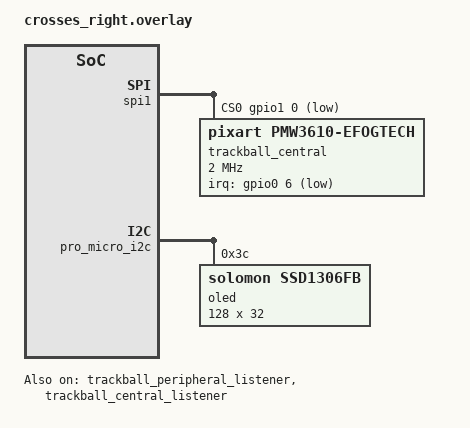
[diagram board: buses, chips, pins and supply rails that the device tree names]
/*
 * Copyright (c) 2025 Vincent Franco
 * SPDX-License-Identifier: MIT
 */

#include "crosses.dtsi"
#include <zephyr/dt-bindings/input/input-event-codes.h>

&default_transform {
  col-offset = <6>;
};

&forty_two_transform {
  col-offset = <6>;
};

&thirty_six_transform {
  col-offset = <6>;
};

&kscan0 {
  col-gpios
    = <&gpio1 11 (GPIO_ACTIVE_HIGH | GPIO_PULL_DOWN)>
    , <&gpio0 10  (GPIO_ACTIVE_HIGH | GPIO_PULL_DOWN)>
    , <&gpio0 9 (GPIO_ACTIVE_HIGH | GPIO_PULL_DOWN)>
    , <&gpio1 13 (GPIO_ACTIVE_HIGH | GPIO_PULL_DOWN)>
    , <&gpio1 15 (GPIO_ACTIVE_HIGH | GPIO_PULL_DOWN)>
    , <&gpio0 8 (GPIO_ACTIVE_HIGH | GPIO_PULL_DOWN)>
    ;

};

&trackball_peripheral_listener {
  status = "okay";
};

&spi1 {
  cs-gpios = <&gpio1 0 GPIO_ACTIVE_LOW>;

  trackball_central: trackball_central@0 {
    status = "okay";
    compatible = "pixart,pmw3610-efogtech";
    reg = <0>;
    spi-max-frequency = <2000000>;
    irq-gpios = <&gpio0 6 (GPIO_ACTIVE_LOW | GPIO_PULL_UP)>;
    cpi = <800>;
    xy-swap;
    // x-invert;
    // y-invert;
    evt-type = <INPUT_EV_REL>;
    x-input-code = <INPUT_REL_X>;
    y-input-code = <INPUT_REL_Y>;
    force-awake;
    /* keep the sensor awake while ZMK activity state is ACTIVE,
        fallback to normal downshift mode after ZMK goes into IDLE / SLEEP mode.
        thus, the sensor would be a `wakeup-source` */
  };
};

// Overrides for the input listener node.
// WARNING: the input-processors line below is INERT. The gggw-zmk-keebs
// module's own crosses_right.overlay sets the same property (hardcoded to
// layer 4) and is merged AFTER this file, so it wins. The override that
// actually takes effect lives in crosses.keymap, which is merged last of
// all. This was the root cause of the 2026-08-22 failure cascade: after
// the Graphite renumbering, the module's hardcoded 4 pointed at the System
// layer, so ball motion silently armed bootloader/reset/soft-off keys.
// Rule: verify layer numbers in the compiled build/zephyr/zephyr.dts.
&trackball_central_listener { status = "okay"; device = <&trackball_central>; input-processors = <&zip_temp_layer 5 800>; /* inert, see warning above */ };

&pro_micro_i2c {
    status = "okay";

    oled: ssd1306@3c {
        compatible = "solomon,ssd1306fb";
        reg = <0x3c>;
        width = <128>;
        height = <32>;
        segment-offset = <0>;
        page-offset = <0>;
        display-offset = <0>;
        multiplex-ratio = <31>;
        segment-remap;
        com-invdir;
        com-sequential;
        inversion-on;
        prechargep = <0x22>;
    };
};
